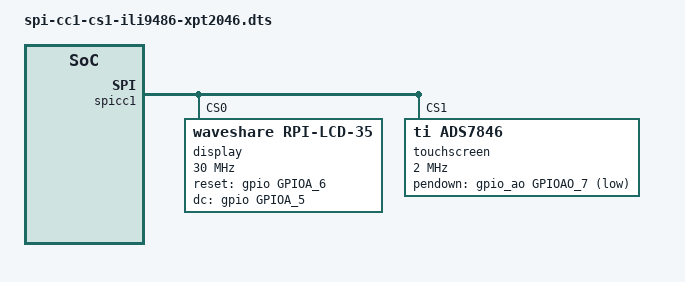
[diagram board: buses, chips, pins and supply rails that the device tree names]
/*
 * Copyright (c) 2023 Da Xue
 * Author: Da Xue <da@libre.computer>
 *
 * SPDX-License-Identifier: (GPL-2.0+ OR MIT)
 */

/dts-v1/;
/plugin/;

#include <dt-bindings/gpio/gpio.h>
#include <dt-bindings/gpio/meson-g12a-gpio.h>
#include <dt-bindings/interrupt-controller/irq.h>
#include <dt-bindings/interrupt-controller/amlogic,meson-g12a-gpio-intc.h>

/ {
	compatible = "libretech,aml-s905d3-cc";

	fragment@0 {
		target = <&spicc1>;
		
		__overlay__ {

			display@0 {
				compatible = "waveshare,rpi-lcd-35", "ilitek,ili9486";
				reg = <0>;
				spi-max-frequency = <30000000>;
				reset-gpios = <&gpio GPIOA_6 GPIO_ACTIVE_HIGH>;
				dc-gpios = <&gpio GPIOA_5 GPIO_ACTIVE_HIGH>;
				status = "okay";
			};

			touchscreen@1 {
				compatible = "ti,ads7846";
				reg = <1>;
				spi-max-frequency = <2000000>;
				interrupt-parent = <&gpio_intc>;
				interrupts = <IRQID_GPIOAO_7 IRQ_TYPE_EDGE_FALLING>;
				pendown-gpio = <&gpio_ao GPIOAO_7 GPIO_ACTIVE_LOW>;
				ti,x-plate-ohms = /bits/ 16 <60>;
				ti,pressure-max = /bits/ 16 <255>;
				wakeup-source;
				status = "okay";
			};
		};
	};
};
